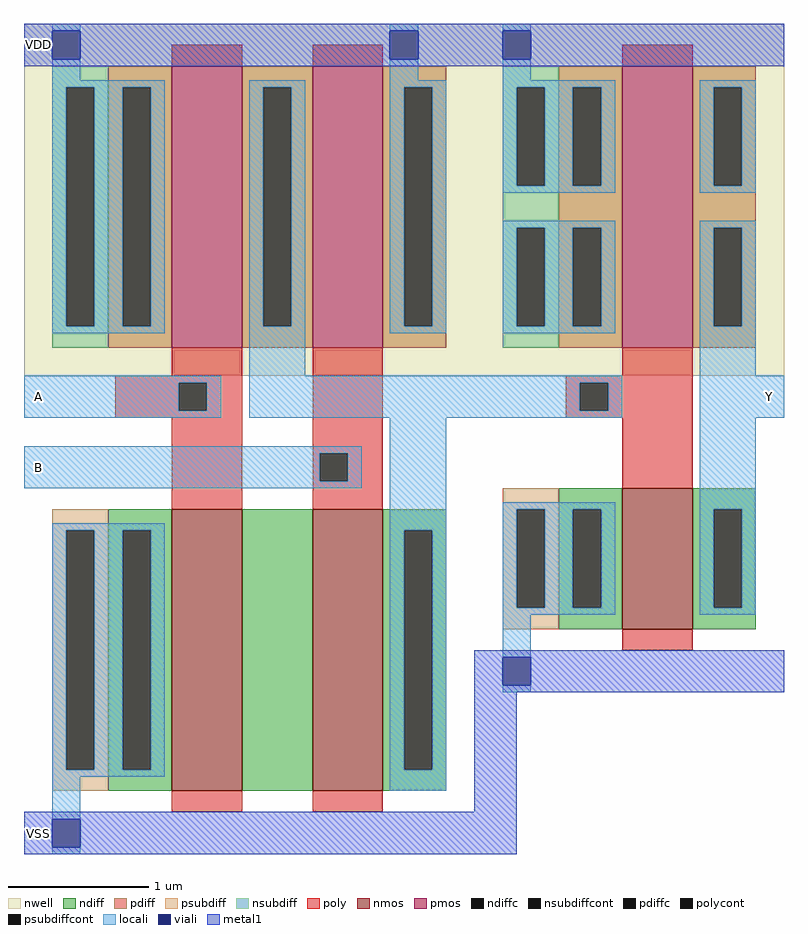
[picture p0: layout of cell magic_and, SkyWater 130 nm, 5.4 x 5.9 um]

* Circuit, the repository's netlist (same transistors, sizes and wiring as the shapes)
* SPICE3 file created from magic_and.ext - technology: sky130A

.subckt magic_nand A B Y VDD VSS
X0 Y A VDD VDD sky130_fd_pr__pfet_01v8 ad=0.5 pd=2.5 as=0.9 ps=4.9 w=2 l=0.5
X1 Y B a_100_n230# VSS sky130_fd_pr__nfet_01v8 ad=0.9 pd=4.9 as=0.5 ps=2.5 w=2 l=0.5
X2 a_100_n230# A VSS VSS sky130_fd_pr__nfet_01v8 ad=0.5 pd=2.5 as=0.9 ps=4.9 w=2 l=0.5
X3 VDD B Y VDD sky130_fd_pr__pfet_01v8 ad=0.9 pd=4.9 as=0.5 ps=2.5 w=2 l=0.5
.ends

.subckt magic_inv X Y VDD VSS
X0 Y X VDD VDD sky130_fd_pr__pfet_01v8 ad=0.9 pd=4.9 as=0.9 ps=4.9 w=2 l=0.5
X1 Y X VSS VSS sky130_fd_pr__nfet_01v8 ad=0.45 pd=2.9 as=0.45 ps=2.9 w=1 l=0.5
.ends

.subckt magic_and A B Y VDD VSS
Xmagic_nand_0 A B magic_inv_0/X VDD VSS magic_nand
Xmagic_inv_0 magic_inv_0/X Y VDD VSS magic_inv
.ends

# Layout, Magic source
magic
tech sky130A
<< locali >>
rect 0 310 20 340
rect 520 310 540 340
rect 0 260 20 290
<< metal1 >>
rect 0 560 20 590
rect 0 0 20 30
rect 320 0 350 115
use magic_inv  magic_inv_0
transform 1 0 425 0 1 160
box -105 -45 115 430
use magic_nand  magic_nand_0
transform 1 0 105 0 1 160
box -105 -160 220 430
<< labels >>
rlabel locali 0 310 20 340 7 A
port 1 w
rlabel locali 0 260 20 290 7 B
port 2 w
rlabel locali 520 310 540 340 3 Y
port 3 e
rlabel metal1 0 560 20 590 7 VDD
port 4 w
rlabel metal1 0 0 20 30 7 VSS
port 5 w
<< end >>

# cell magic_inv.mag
magic
tech sky130A
<< nwell >>
rect -105 180 115 430
<< nmos >>
rect 0 0 50 100
<< pmos >>
rect 0 200 50 400
<< ndiff >>
rect -45 85 0 100
rect -45 15 -35 85
rect -15 15 0 85
rect -45 0 0 15
rect 50 85 95 100
rect 50 15 65 85
rect 85 15 95 85
rect 50 0 95 15
<< pdiff >>
rect -45 385 0 400
rect -45 315 -35 385
rect -15 315 0 385
rect -45 285 0 315
rect -45 215 -35 285
rect -15 215 0 285
rect -45 200 0 215
rect 50 385 95 400
rect 50 315 65 385
rect 85 315 95 385
rect 50 285 95 315
rect 50 215 65 285
rect 85 215 95 285
rect 50 200 95 215
<< ndiffc >>
rect -35 15 -15 85
rect 65 15 85 85
<< pdiffc >>
rect -35 315 -15 385
rect -35 215 -15 285
rect 65 315 85 385
rect 65 215 85 285
<< psubdiff >>
rect -85 85 -45 100
rect -85 15 -75 85
rect -55 15 -45 85
rect -85 0 -45 15
<< nsubdiff >>
rect -85 385 -45 400
rect -85 315 -75 385
rect -55 315 -45 385
rect -85 285 -45 315
rect -85 215 -75 285
rect -55 215 -45 285
rect -85 200 -45 215
<< psubdiffcont >>
rect -75 15 -55 85
<< nsubdiffcont >>
rect -75 315 -55 385
rect -75 215 -55 285
<< poly >>
rect 0 400 50 415
rect 0 180 50 200
rect -40 175 50 180
rect -40 155 -30 175
rect -10 155 50 175
rect -40 150 50 155
rect 0 100 50 150
rect 0 -15 50 0
<< polycont >>
rect -30 155 -10 175
<< locali >>
rect -85 425 -65 430
rect -85 390 -65 405
rect -85 385 -5 390
rect -85 315 -75 385
rect -55 315 -35 385
rect -15 315 -5 385
rect -85 310 -5 315
rect 55 385 95 390
rect 55 315 65 385
rect 85 315 95 385
rect 55 310 95 315
rect -85 285 -5 290
rect -85 215 -75 285
rect -55 215 -35 285
rect -15 215 -5 285
rect -85 210 -5 215
rect 55 285 95 290
rect 55 215 65 285
rect 85 215 95 285
rect 55 180 95 215
rect -105 175 0 180
rect -105 155 -30 175
rect -10 155 0 175
rect -105 150 0 155
rect 55 150 115 180
rect -85 85 -5 90
rect -85 15 -75 85
rect -55 15 -35 85
rect -15 15 -5 85
rect -85 10 -5 15
rect 55 85 95 150
rect 55 15 65 85
rect 85 15 95 85
rect 55 10 95 15
rect -85 -20 -65 10
rect -85 -45 -65 -40
<< viali >>
rect -85 405 -65 425
rect -85 -40 -65 -20
<< metal1 >>
rect -105 425 115 430
rect -105 405 -85 425
rect -65 405 115 425
rect -105 400 115 405
rect -105 -20 115 -15
rect -105 -40 -85 -20
rect -65 -40 115 -20
rect -105 -45 115 -40
<< labels >>
rlabel locali -105 150 -85 180 7 X
port 1 w
rlabel locali 95 150 115 180 3 Y
port 2 e
rlabel metal1 -105 400 -85 430 7 VDD
port 3 w
rlabel metal1 -105 -45 -85 -15 7 VSS
port 4 w
<< end >>

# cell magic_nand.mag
magic
tech sky130A
<< nwell >>
rect -105 180 215 430
<< nmos >>
rect 0 -115 50 85
rect 100 -115 150 85
<< pmos >>
rect 0 200 50 400
rect 100 200 150 400
<< ndiff >>
rect -45 70 0 85
rect -45 -100 -35 70
rect -15 -100 0 70
rect -45 -115 0 -100
rect 50 -115 100 85
rect 150 70 195 85
rect 150 -100 165 70
rect 185 -100 195 70
rect 150 -115 195 -100
<< pdiff >>
rect -45 385 0 400
rect -45 215 -35 385
rect -15 215 0 385
rect -45 200 0 215
rect 50 385 100 400
rect 50 215 65 385
rect 85 215 100 385
rect 50 200 100 215
rect 150 385 195 400
rect 150 215 165 385
rect 185 215 195 385
rect 150 200 195 215
<< ndiffc >>
rect -35 -100 -15 70
rect 165 -100 185 70
<< pdiffc >>
rect -35 215 -15 385
rect 65 215 85 385
rect 165 215 185 385
<< psubdiff >>
rect -85 70 -45 85
rect -85 -100 -75 70
rect -55 -100 -45 70
rect -85 -115 -45 -100
<< nsubdiff >>
rect -85 385 -45 400
rect -85 215 -75 385
rect -55 215 -45 385
rect -85 200 -45 215
<< psubdiffcont >>
rect -75 -100 -55 70
<< nsubdiffcont >>
rect -75 215 -55 385
<< poly >>
rect 0 400 50 415
rect 100 400 150 415
rect 0 180 50 200
rect -40 175 50 180
rect -40 155 5 175
rect 25 155 50 175
rect -40 150 50 155
rect 0 85 50 150
rect 100 125 150 200
rect 100 105 105 125
rect 125 105 150 125
rect 100 85 150 105
rect 0 -130 50 -115
rect 100 -130 150 -115
<< polycont >>
rect 5 155 25 175
rect 105 105 125 125
<< locali >>
rect -85 425 -65 430
rect -85 390 -65 405
rect 155 425 175 430
rect 155 390 175 405
rect -85 385 -5 390
rect -85 215 -75 385
rect -55 215 -35 385
rect -15 215 -5 385
rect -85 210 -5 215
rect 55 385 95 390
rect 55 215 65 385
rect 85 215 95 385
rect 55 180 95 215
rect 155 385 195 390
rect 155 215 165 385
rect 185 215 195 385
rect 155 210 195 215
rect -105 175 35 180
rect -105 155 5 175
rect 25 155 35 175
rect -105 150 35 155
rect 55 150 215 180
rect -105 125 135 130
rect -105 105 105 125
rect 125 105 135 125
rect -105 100 135 105
rect -85 70 -5 75
rect -85 -100 -75 70
rect -55 -100 -35 70
rect -15 -100 -5 70
rect -85 -105 -5 -100
rect 155 70 195 150
rect 155 -100 165 70
rect 185 -100 195 70
rect -85 -135 -65 -105
rect 155 -115 195 -100
rect -85 -160 -65 -155
<< viali >>
rect -85 405 -65 425
rect 155 405 175 425
rect -85 -155 -65 -135
<< metal1 >>
rect -105 425 215 430
rect -105 405 -85 425
rect -65 405 155 425
rect 175 405 215 425
rect -105 400 215 405
rect -105 -135 220 -130
rect -105 -155 -85 -135
rect -65 -155 220 -135
rect -105 -160 220 -155
<< labels >>
rlabel locali -105 150 -85 180 7 A
port 1 w
rlabel locali -105 100 -85 130 7 B
port 2 w
rlabel locali 195 150 215 180 3 Y
port 3 e
rlabel metal1 -105 400 -85 430 7 VDD
port 4 w
rlabel metal1 -105 -160 -85 -130 7 VSS
port 5 w
<< end >>
